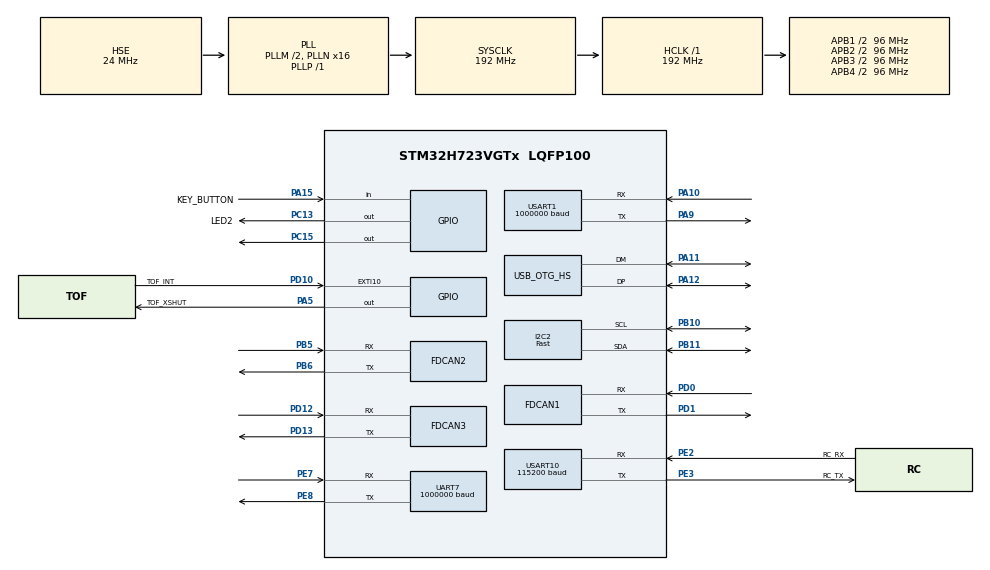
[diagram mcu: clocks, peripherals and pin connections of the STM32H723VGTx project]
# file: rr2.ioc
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CORTEX_M7.CPU_DCache=Enabled
CORTEX_M7.CPU_ICache=Enabled
FDCAN1.AutoRetransmission=ENABLE
FDCAN1.CalculateBaudRateNominal=1000000
FDCAN1.CalculateTimeBitNominal=1000
FDCAN1.CalculateTimeQuantumNominal=20.833333333333332
FDCAN1.DataSyncJumpWidth=1
FDCAN1.DataTimeSeg1=1
FDCAN1.DataTimeSeg2=1
FDCAN1.ExtFiltersNbr=0
FDCAN1.FrameFormat=FDCAN_FRAME_CLASSIC
FDCAN1.Mode=FDCAN_MODE_NORMAL
FDCAN1.NominalPrescaler=1
FDCAN1.NominalSyncJumpWidth=20
FDCAN1.NominalTimeSeg1=33
FDCAN1.NominalTimeSeg2=14
FDCAN1.ProtocolException=DISABLE
FDCAN1.RxBuffersNbr=0
FDCAN1.RxFifo0ElmtsNbr=16
FDCAN1.RxFifo1ElmtsNbr=0
FDCAN1.StdFiltersNbr=1
FDCAN1.TransmitPause=DISABLE
FDCAN1.TxBuffersNbr=0
FDCAN1.TxEventsNbr=0
FDCAN1.TxFifoQueueElmtsNbr=3
FDCAN2.AutoRetransmission=ENABLE
FDCAN2.CalculateBaudRateNominal=1000000
FDCAN2.CalculateTimeBitNominal=1000
FDCAN2.CalculateTimeQuantumNominal=20.833333333333332
FDCAN2.DataSyncJumpWidth=1
FDCAN2.DataTimeSeg1=1
FDCAN2.ExtFiltersNbr=0
FDCAN2.FrameFormat=FDCAN_FRAME_CLASSIC
FDCAN2.MessageRAMOffset=0x406
FDCAN2.Mode=FDCAN_MODE_NORMAL
FDCAN2.NominalPrescaler=1
FDCAN2.NominalSyncJumpWidth=20
FDCAN2.NominalTimeSeg1=33
FDCAN2.NominalTimeSeg2=14
FDCAN2.ProtocolException=DISABLE
FDCAN2.RxBuffersNbr=0
FDCAN2.RxFifo0ElmtsNbr=8
FDCAN2.RxFifo1ElmtsNbr=0
FDCAN2.StdFiltersNbr=4
FDCAN2.TxBuffersNbr=0
FDCAN2.TxEventsNbr=0
FDCAN2.TxFifoQueueElmtsNbr=8
FDCAN3.AutoRetransmission=ENABLE
FDCAN3.CalculateBaudRateNominal=1000000
FDCAN3.CalculateTimeBitNominal=1000
FDCAN3.CalculateTimeQuantumNominal=20.833333333333332
FDCAN3.DataSyncJumpWidth=1
FDCAN3.DataTimeSeg1=1
FDCAN3.DataTimeSeg2=1
FDCAN3.ExtFiltersNbr=1
FDCAN3.FrameFormat=FDCAN_FRAME_CLASSIC
FDCAN3.MessageRAMOffset=0x812
FDCAN3.Mode=FDCAN_MODE_NORMAL
FDCAN3.NominalPrescaler=1
FDCAN3.NominalSyncJumpWidth=20
FDCAN3.NominalTimeSeg1=33
FDCAN3.NominalTimeSeg2=14
FDCAN3.RxBuffersNbr=0
FDCAN3.RxFifo0ElmtsNbr=16
FDCAN3.RxFifo1ElmtsNbr=0
FDCAN3.StdFiltersNbr=4
FDCAN3.TxBuffersNbr=0
FDCAN3.TxEventsNbr=0
FDCAN3.TxFifoQueueElmtsNbr=16
I2C2.I2C_Speed_Mode=I2C_Fast
I2C2.Timing=0x009032AE
Mcu.Family=STM32H7
Mcu.Name=STM32H723VGTx
Mcu.Package=LQFP100
NVIC.EXTI15_10_IRQn=true\:6\:0\:true\:false\:true\:true\:true\:true
NVIC.FDCAN1_IT0_IRQn=true\:5\:0\:false\:false\:true\:true\:true\:true
NVIC.FDCAN1_IT1_IRQn=true\:5\:0\:false\:false\:true\:true\:true\:true
NVIC.FDCAN2_IT0_IRQn=true\:5\:0\:false\:false\:true\:true\:true\:true
NVIC.FDCAN2_IT1_IRQn=true\:5\:0\:false\:false\:true\:true\:true\:true
NVIC.FDCAN3_IT0_IRQn=true\:5\:0\:false\:false\:true\:true\:true\:true
NVIC.FDCAN3_IT1_IRQn=true\:5\:0\:false\:false\:true\:true\:true\:true
NVIC.I2C2_ER_IRQn=true\:6\:0\:true\:false\:true\:true\:true\:true
NVIC.I2C2_EV_IRQn=true\:6\:0\:true\:false\:true\:true\:true\:true
NVIC.OTG_HS_IRQn=true\:0\:0\:false\:false\:true\:false\:true\:true
NVIC.PriorityGroup=NVIC_PRIORITYGROUP_4
NVIC.USART10_IRQn=true\:5\:0\:true\:false\:true\:true\:true\:true
NVIC.USART1_IRQn=true\:5\:0\:true\:false\:true\:false\:true\:true
PA10.Mode=Asynchronous
PA10.Signal=USART1_RX
PA11.Mode=Device_Only_FS
PA11.Signal=USB_OTG_HS_DM
PA12.Mode=Device_Only_FS
PA12.Signal=USB_OTG_HS_DP
PA13(JTMS/SWDIO).Mode=Serial_Wire
PA13(JTMS/SWDIO).Signal=DEBUG_JTMS-SWDIO
PA14(JTCK/SWCLK).Mode=Serial_Wire
PA14(JTCK/SWCLK).Signal=DEBUG_JTCK-SWCLK
PA15.GPIO_Label=KEY_BUTTON
PA15.GPIO_PuPd=GPIO_PULLUP
PA15.Signal=GPIO_Input
PA5.GPIO_Label=TOF_XSHUT
PA5.Signal=GPIO_Output
PA9.Mode=Asynchronous
PA9.Signal=USART1_TX
PB10.Mode=I2C
PB10.Signal=I2C2_SCL
PB11.Mode=I2C
PB11.Signal=I2C2_SDA
PB5.Mode=FDCAN_Activate
PB5.Signal=FDCAN2_RX
PB6.Mode=FDCAN_Activate
PB6.Signal=FDCAN2_TX
PC13.GPIO_Label=LED2
PC13.Signal=GPIO_Output
PC15-OSC32_OUT.PinState=GPIO_PIN_SET
PC15-OSC32_OUT.Signal=GPIO_Output
PD0.Mode=FDCAN_Activate
PD0.Signal=FDCAN1_RX
PD1.Mode=FDCAN_Activate
PD1.Signal=FDCAN1_TX
PD10.GPIO_Label=TOF_INT
PD10.GPIO_ModeDefaultEXTI=GPIO_MODE_IT_FALLING
PD10.GPIO_PuPd=GPIO_PULLUP
PD10.Signal=GPXTI10
PD12.Mode=FDCAN_Activate
PD12.Signal=FDCAN3_RX
PD13.Mode=FDCAN_Activate
PD13.Signal=FDCAN3_TX
PE2.GPIO_Label=RC_RX
PE2.GPIO_PuPd=GPIO_PULLUP
PE2.Mode=Asynchronous
PE2.Signal=USART10_RX
PE3.GPIO_Label=RC_TX
PE3.Mode=Asynchronous
PE3.Signal=USART10_TX
PE7.Mode=Asynchronous
PE7.Signal=UART7_RX
PE8.Mode=Asynchronous
PE8.Signal=UART7_TX
PH0-OSC_IN.Mode=HSE-External-Oscillator
PH0-OSC_IN.Signal=RCC_OSC_IN
PH1-OSC_OUT.Mode=HSE-External-Oscillator
PH1-OSC_OUT.Signal=RCC_OSC_OUT
ProjectManager.HeapSize=0x200
ProjectManager.StackSize=0x400
ProjectManager.TargetToolchain=CMake
RCC.ADCFreq_Value=48375000
RCC.APB1Freq_Value=96000000
RCC.APB2Freq_Value=96000000
RCC.APB3Freq_Value=96000000
RCC.APB4Freq_Value=96000000
RCC.CortexFreq_Value=192000000
RCC.D1PPRE=RCC_APB3_DIV2
RCC.D2PPRE1=RCC_APB1_DIV2
RCC.D2PPRE2=RCC_APB2_DIV2
RCC.D3PPRE=RCC_APB4_DIV2
RCC.DIVM1=2
RCC.DIVN1=16
RCC.DIVP1=1
RCC.DIVQ1=4
RCC.HCLKFreq_Value=192000000
RCC.HSE_VALUE=24000000
RCC.PLLFRACN=0
RCC.PLLSourceVirtual=RCC_PLLSOURCE_HSE
RCC.SYSCLKFreq_VALUE=192000000
RCC.SYSCLKSource=RCC_SYSCLKSOURCE_PLLCLK
RCC.USBFreq_Value=48000000
UART7.BaudRate=1000000
USART1.BaudRate=1000000
USART1.VirtualMode-Asynchronous=VM_ASYNC
USART10.BaudRate=115200
USART10.VirtualMode=VM_ASYNC
USB_DEVICE.CLASS_NAME_HS=CDC
USB_DEVICE.VirtualMode=Cdc
USB_DEVICE.VirtualModeHS=Cdc_HS
USB_OTG_HS.VirtualMode-Device_Only_FS=Device_Only_FS
VP_MEMORYMAP_VS_MEMORYMAP.Mode=CurAppReg
VP_USB_DEVICE_VS_USB_DEVICE_CDC_HS.Mode=CDC_HS
board=custom

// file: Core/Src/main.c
/* USER CODE BEGIN Header */
/**
  ******************************************************************************
  * @file           : main.c
  * @brief          : Main program body
  ******************************************************************************
  * @attention
  *
  * Copyright (c) 2024 STMicroelectronics.
  * All rights reserved.
  *
  * This software is licensed under terms that can be found in the LICENSE file
  * in the root directory of this software component.
  * If no LICENSE file comes with this software, it is provided AS-IS.
  *
  ******************************************************************************
  */
/* USER CODE END Header */
#include "main.h"
#include "fdcan.h"
#include "i2c.h"
#include "usart.h"
#include "usb_device.h"
#include "gpio.h"

/* USER CODE BEGIN Includes */
#include "bsp_fdcan.h"
#include "chassis_app.h"
#include "comm_app.h"
#include "gripper_app.h"
#include "kfs_lift_app.h"
#include "kfs_rotate_app.h"
#include "kfs_grip_app.h"
#include "key_app.h"
#include "lift_app.h"
#include "weapon_rotate_app.h"
#include "weapon_grip_app.h"
#include "tof200c_app.h"
#include "rc_control.h"
#include "main_loop_monitor_app/main_loop_monitor_app.h"
/* USER CODE END Includes */

void SystemClock_Config(void);

int main(void)
{

  /* Enable the CPU Cache */

  /* Enable I-Cache---------------------------------------------------------*/
  SCB_EnableICache();

  /* Enable D-Cache---------------------------------------------------------*/
  SCB_EnableDCache();

  /* MCU Configuration--------------------------------------------------------*/

  /* Reset of all peripherals, Initializes the Flash interface and the Systick. */
  HAL_Init();

  /* Configure the system clock */
  SystemClock_Config();

  /* Initialize all configured peripherals */
  MX_GPIO_Init();
  MX_FDCAN1_Init();
  MX_FDCAN2_Init();
  MX_FDCAN3_Init();
  MX_USART1_UART_Init();
  MX_USART10_UART_Init();
  MX_USB_DEVICE_Init();
  MX_UART7_Init();
  MX_I2C2_Init();
  /* USER CODE BEGIN 2 */
  bsp_can_init();
  ChassisApp_Init();
  LiftApp_Init();
  KfsLiftApp_Init();
  GripperApp_Init();
  KfsRotateApp_Init();
  KfsGripApp_Init();
  WeaponRotateApp_Init();
  KeyApp_Init();
  CommApp_Init();
  WeaponGripApp_Init();
  Tof200cApp_Init();
  RcControl_Init();
  MainLoopMonitorApp_Init();
  /* USER CODE END 2 */

  /* Infinite loop */
  while (1)
  {

    /* USER CODE BEGIN 3 */

    // HAL_GPIO_TogglePin(LED2_GPIO_Port, LED2_Pin);  // 翻转 LED2
    // HAL_Delay(500);  // 等 500ms

    KeyApp_RunPeriodic();
    CommApp_RunPeriodic();
    RcControl_RunPeriodic();
    ChassisApp_RunPeriodic();
    LiftApp_RunPeriodic();
    KfsLiftApp_RunPeriodic();
    GripperApp_RunPeriodic();
    KfsRotateApp_RunPeriodic();
    KfsGripApp_RunPeriodic();
    WeaponRotateApp_RunPeriodic();
    WeaponGripApp_RunPeriodic();
    Tof200cApp_RunPeriodic();

    MainLoopMonitorApp_RunPeriodic();
  }
  /* USER CODE END 3 */
}

void SystemClock_Config(void)
{
  RCC_OscInitTypeDef RCC_OscInitStruct = {0};
  RCC_ClkInitTypeDef RCC_ClkInitStruct = {0};

  /** Supply configuration update enable
  */
  HAL_PWREx_ConfigSupply(PWR_LDO_SUPPLY);

  /** Configure the main internal regulator output voltage
  */
  __HAL_PWR_VOLTAGESCALING_CONFIG(PWR_REGULATOR_VOLTAGE_SCALE1);

  while(!__HAL_PWR_GET_FLAG(PWR_FLAG_VOSRDY)) {}

  /** Initializes the RCC Oscillators according to the specified parameters
  * in the RCC_OscInitTypeDef structure.
  */
  RCC_OscInitStruct.OscillatorType = RCC_OSCILLATORTYPE_HSE;
  RCC_OscInitStruct.HSEState = RCC_HSE_ON;
  RCC_OscInitStruct.PLL.PLLState = RCC_PLL_ON;
  RCC_OscInitStruct.PLL.PLLSource = RCC_PLLSOURCE_HSE;
  RCC_OscInitStruct.PLL.PLLM = 2;
  RCC_OscInitStruct.PLL.PLLN = 16;
  RCC_OscInitStruct.PLL.PLLP = 1;
  RCC_OscInitStruct.PLL.PLLQ = 4;
  RCC_OscInitStruct.PLL.PLLR = 2;
  RCC_OscInitStruct.PLL.PLLRGE = RCC_PLL1VCIRANGE_3;
  RCC_OscInitStruct.PLL.PLLVCOSEL = RCC_PLL1VCOWIDE;
  RCC_OscInitStruct.PLL.PLLFRACN = 0;
  if (HAL_RCC_OscConfig(&RCC_OscInitStruct) != HAL_OK)
  {
    Error_Handler();
  }

  /** Initializes the CPU, AHB and APB buses clocks
  */
  RCC_ClkInitStruct.ClockType = RCC_CLOCKTYPE_HCLK|RCC_CLOCKTYPE_SYSCLK
                              |RCC_CLOCKTYPE_PCLK1|RCC_CLOCKTYPE_PCLK2
                              |RCC_CLOCKTYPE_D3PCLK1|RCC_CLOCKTYPE_D1PCLK1;
  RCC_ClkInitStruct.SYSCLKSource = RCC_SYSCLKSOURCE_PLLCLK;
  RCC_ClkInitStruct.SYSCLKDivider = RCC_SYSCLK_DIV1;
  RCC_ClkInitStruct.AHBCLKDivider = RCC_HCLK_DIV1;
  RCC_ClkInitStruct.APB3CLKDivider = RCC_APB3_DIV2;
  RCC_ClkInitStruct.APB1CLKDivider = RCC_APB1_DIV2;
  RCC_ClkInitStruct.APB2CLKDivider = RCC_APB2_DIV2;
  RCC_ClkInitStruct.APB4CLKDivider = RCC_APB4_DIV2;

  if (HAL_RCC_ClockConfig(&RCC_ClkInitStruct, FLASH_LATENCY_2) != HAL_OK)
  {
    Error_Handler();
  }
}

/* USER CODE BEGIN 4 */
void HAL_GPIO_EXTI_Callback(uint16_t GPIO_Pin)
{
  Tof200cApp_OnExtiCallback(GPIO_Pin);
}

void HAL_I2C_MemRxCpltCallback(I2C_HandleTypeDef *hi2c)
{
  Tof200cApp_OnI2cMemRxComplete(hi2c);
}

void HAL_I2C_MemTxCpltCallback(I2C_HandleTypeDef *hi2c)
{
  Tof200cApp_OnI2cMemTxComplete(hi2c);
}

void HAL_I2C_ErrorCallback(I2C_HandleTypeDef *hi2c)
{
  Tof200cApp_OnI2cError(hi2c);
}

/* USER CODE END 4 */

void Error_Handler(void)
{
  __disable_irq();
  while (1)
  {
  }
}
#ifdef USE_FULL_ASSERT
/**
  * @brief  Reports the name of the source file and the source line number
  *         where the assert_param error has occurred.
  * @param  file: pointer to the source file name
  * @param  line: assert_param error line source number
  * @retval None
  */
void assert_failed(uint8_t *file, uint32_t line)
{
  /* USER CODE BEGIN 6 */
  (void)file;
  (void)line;
  /* USER CODE END 6 */
}
#endif /* USE_FULL_ASSERT */
